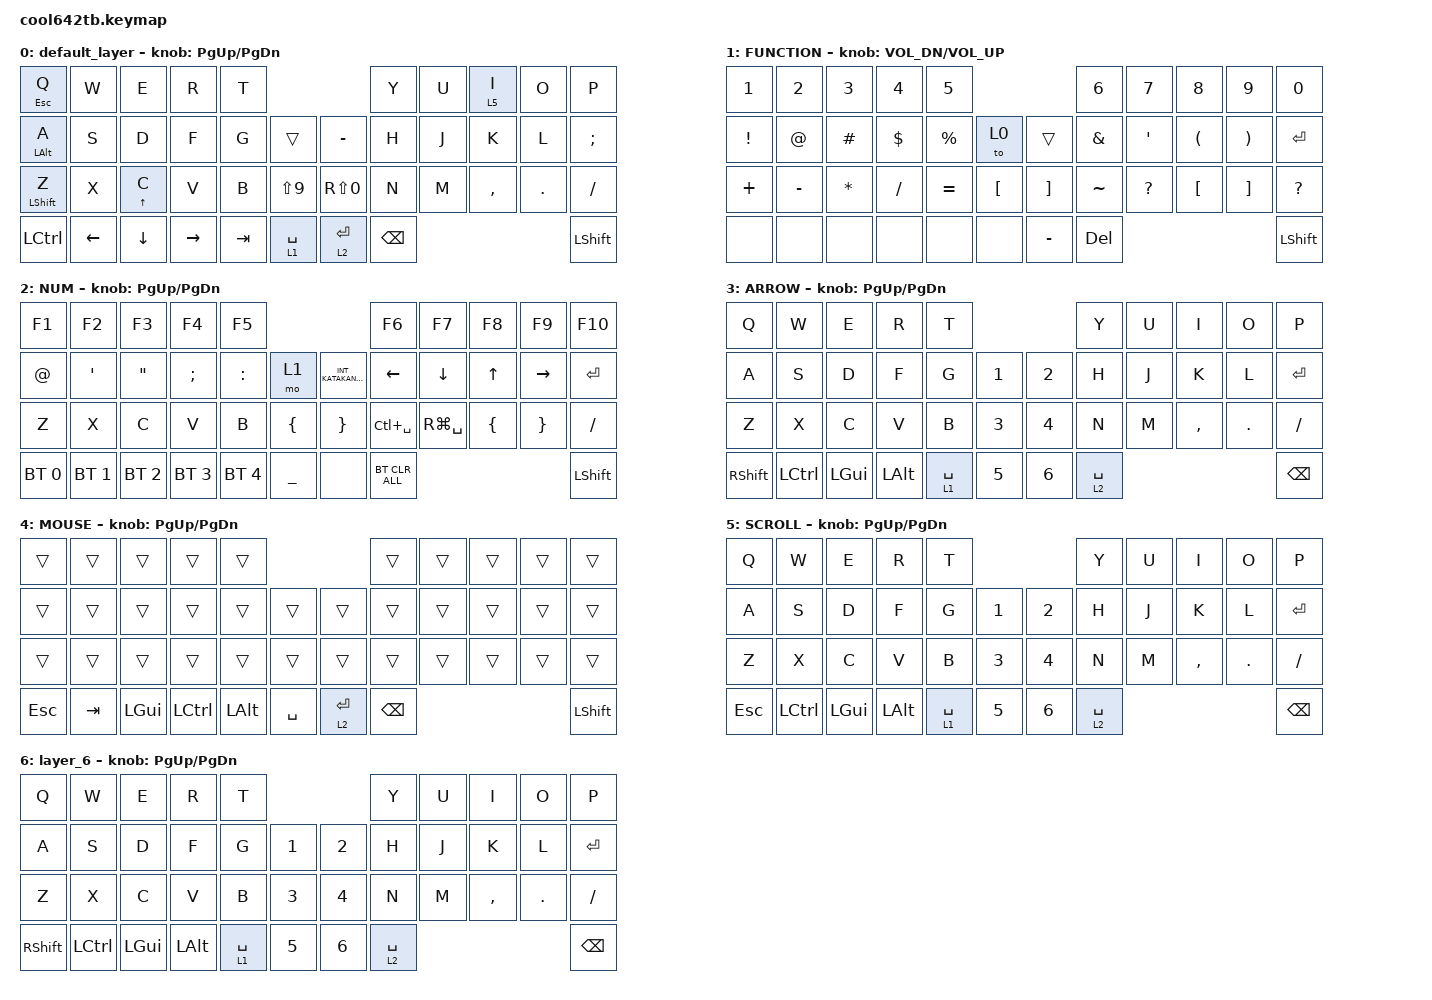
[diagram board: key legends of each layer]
#include <behaviors.dtsi>
#include <dt-bindings/zmk/bt.h>
#include <dt-bindings/zmk/keys.h>
#include <dt-bindings/zmk/pointing.h>

#define ZMK_MOUSE_DEFAULT_SCRL_VAL 100
#define MOUSE 4
#define SCROLL 5
#define NUM 6

&mt {
    flavor = "balanced";
    quick-tap-ms = <0>;
};

/ {
    combos {
        compatible = "zmk,combos";

        comb1 {
            bindings = <&mkp MB1>;
            key-positions = <18 19>;
        };

        comb2 {
            bindings = <&mkp MB2>;
            key-positions = <20 19>;
        };

        comb3 {
            bindings = <&kp LANGUAGE_1>;
            key-positions = <27 26>;
        };

        comb4 {
            bindings = <&kp LANGUAGE_2>;
            key-positions = <28 29>;
        };

        ls4 {
            bindings = <&kp LEFT_SHIFT>;
            key-positions = <34 35>;
        };
    };

    macros {
        to_layer_0: to_layer_0 {
            compatible = "zmk,behavior-macro-one-param";
            #binding-cells = <1>;
            bindings = <&to 0 &macro_param_1to1 &kp MACRO_PLACEHOLDER>;
            label = "TO_LAYER_0";
        };
    };

    behaviors {
        lt_to_layer_0: lt_to_layer_0 {
            compatible = "zmk,behavior-hold-tap";
            label = "LAYER_TAP_TO_0";
            bindings = <&mo>, <&to_layer_0>;

            #binding-cells = <2>;
            tapping-term-ms = <200>;
        };

        scroll_up_down: behavior_sensor_rotate_mouse_wheel_up_down {
            compatible = "zmk,behavior-sensor-rotate";
            #sensor-binding-cells = <0>;
            bindings = <&msc SCRL_UP>, <&msc SCRL_DOWN>;

            tap-ms = <20>;
        };
    };

    // エンコーダー：キー

    rot_kp: sensor_rotate_kp {
        compatible = "zmk,behavior-sensor-rotate-var";
        #sensor-binding-cells = <2>;
        bindings = <&kp>, <&kp>;
    };

    // エンコーダー：マウススクロール 

    rot_msc: sensor_rotate_msc {
        compatible = "zmk,behavior-sensor-rotate-var";
        #sensor-binding-cells = <2>;
        tap-ms = <20>;
        bindings = <&msc>, <&msc>;
    };

    // エンコーダー：マウススクロール(MOVE_Y)

    scroll_move_y: sensor_rotate_msc_for_move_y {
        compatible = "zmk,behavior-sensor-rotate";
        #sensor-binding-cells = <0>;
        bindings = <&msc MOVE_Y(20)>, <&msc MOVE_Y(-20)>;

        // tap-ms下限メモ Yの値で可変: Y(15) <81>, Y(20) <65>, Y(25) <49>

        tap-ms = <65>;
    };

    // エンコーダー：マウススクロール(MOVE_X)

    scroll_move_x: sensor_rotate_msc_for_move_x {
        compatible = "zmk,behavior-sensor-rotate";
        #sensor-binding-cells = <0>;
        bindings = <&msc MOVE_X(20)>, <&msc MOVE_X(-20)>;

        // tap-ms下限メモ Xの値で可変: X(15) <81>, X(20) <65>, X(25) <49>

        tap-ms = <65>;
    };

    keymap {
        compatible = "zmk,keymap";

        default_layer {
            bindings = <
&mt ESCAPE Q      &kp W     &kp E     &kp R      &kp T                              &kp Y          &kp U  &lt 5 I    &kp O       &kp P
&mt LEFT_ALT A    &kp S     &kp D     &kp F      &kp G    &trans       &kp MINUS    &kp H          &kp J  &kp K      &kp L       &kp SEMICOLON
&mt LEFT_SHIFT Z  &kp X     &mt UP C  &kp V      &kp B    &kp LS(N9)   &kp RS(N0)   &kp N          &kp M  &kp COMMA  &kp PERIOD  &kp SLASH
&kp LEFT_CONTROL  &kp LEFT  &kp DOWN  &kp RIGHT  &kp TAB  &lt 1 SPACE  &lt 2 ENTER  &kp BACKSPACE                                &kp LEFT_SHIFT
            >;

            sensor-bindings = <&inc_dec_kp PAGE_UP PAGE_DOWN>;
        };

        FUNCTION {
            bindings = <
&kp N1           &kp N2       &kp N3        &kp N4      &kp N5                                            &kp N6         &kp N7        &kp N8                &kp N9                 &kp N0
&kp EXCLAMATION  &kp AT_SIGN  &kp HASH      &kp DOLLAR  &kp PERCENT  &to 0             &trans             &kp AMPERSAND  &kp SQT       &kp LEFT_PARENTHESIS  &kp RIGHT_PARENTHESIS  &kp ENTER
&kp PLUS         &kp MINUS    &kp ASTERISK  &kp SLASH   &kp EQUAL    &kp LEFT_BRACKET  &kp RIGHT_BRACKET  &kp TILDE      &kp QUESTION  &kp LEFT_BRACKET      &kp RIGHT_BRACKET      &kp QUESTION
&none            &none        &none         &none       &none        &none             &kp MINUS          &kp DEL                                                                   &kp LEFT_SHIFT
            >;

            sensor-bindings = <&inc_dec_kp C_VOL_DN C_VOL_UP>;
        };

        NUM {
            bindings = <
&kp F1        &kp F2        &kp F3             &kp F4         &kp F5                                                  &kp F6          &kp F7          &kp F8          &kp F9           &kp F10
&kp AT_SIGN   &kp SQT       &kp DOUBLE_QUOTES  &kp SEMICOLON  &kp COLON     &mo 1           &kp INT_KATAKANAHIRAGANA  &kp LEFT        &kp DOWN_ARROW  &kp UP_ARROW    &kp RIGHT        &kp ENTER
&kp Z         &kp X         &kp C              &kp V          &kp B         &kp LEFT_BRACE  &kp RIGHT_BRACE           &kp LC(SPACE)   &kp RG(SPACE)   &kp LEFT_BRACE  &kp RIGHT_BRACE  &kp SLASH
&bt BT_SEL 0  &bt BT_SEL 1  &bt BT_SEL 2       &bt BT_SEL 3   &bt BT_SEL 4  &kp UNDERSCORE  &none                     &bt BT_CLR_ALL                                                   &kp LEFT_SHIFT
            >;

            sensor-bindings = <&inc_dec_kp PG_UP PAGE_DOWN>;
        };

        ARROW {
            bindings = <
&kp Q       &kp W      &kp E     &kp R     &kp T                        &kp Y        &kp U  &kp I      &kp O       &kp P
&kp A       &kp S      &kp D     &kp F     &kp G        &kp N1  &kp N2  &kp H        &kp J  &kp K      &kp L       &kp ENTER
&kp Z       &kp X      &kp C     &kp V     &kp B        &kp N3  &kp N4  &kp N        &kp M  &kp COMMA  &kp PERIOD  &kp SLASH
&kp RSHIFT  &kp LCTRL  &kp LGUI  &kp LALT  &lt 1 SPACE  &kp N5  &kp N6  &lt 2 SPACE                                &kp BSPC
            >;

            sensor-bindings = <&inc_dec_kp PG_UP PAGE_DOWN>;
        };

        MOUSE {
            bindings = <
&trans      &trans   &trans        &trans            &trans                                &trans         &trans  &trans  &trans  &trans
&trans      &trans   &trans        &trans            &trans        &trans     &trans       &trans         &trans  &trans  &trans  &trans
&trans      &trans   &trans        &trans            &trans        &trans     &trans       &trans         &trans  &trans  &trans  &trans
&kp ESCAPE  &kp TAB  &kp LEFT_GUI  &kp LEFT_CONTROL  &kp LEFT_ALT  &kp SPACE  &lt 2 ENTER  &kp BACKSPACE                          &kp LEFT_SHIFT
            >;

            sensor-bindings = <&inc_dec_kp PG_UP PAGE_DOWN>;
        };

        SCROLL {
            bindings = <
&kp Q    &kp W      &kp E     &kp R     &kp T                        &kp Y        &kp U  &kp I      &kp O       &kp P
&kp A    &kp S      &kp D     &kp F     &kp G        &kp N1  &kp N2  &kp H        &kp J  &kp K      &kp L       &kp ENTER
&kp Z    &kp X      &kp C     &kp V     &kp B        &kp N3  &kp N4  &kp N        &kp M  &kp COMMA  &kp PERIOD  &kp SLASH
&kp ESC  &kp LCTRL  &kp LGUI  &kp LALT  &lt 1 SPACE  &kp N5  &kp N6  &lt 2 SPACE                                &kp BSPC
            >;

            sensor-bindings = <&inc_dec_kp PG_UP PAGE_DOWN>;
        };

        layer_6 {
            bindings = <
&kp Q       &kp W      &kp E     &kp R     &kp T                        &kp Y        &kp U  &kp I      &kp O       &kp P
&kp A       &kp S      &kp D     &kp F     &kp G        &kp N1  &kp N2  &kp H        &kp J  &kp K      &kp L       &kp ENTER
&kp Z       &kp X      &kp C     &kp V     &kp B        &kp N3  &kp N4  &kp N        &kp M  &kp COMMA  &kp PERIOD  &kp SLASH
&kp RSHIFT  &kp LCTRL  &kp LGUI  &kp LALT  &lt 1 SPACE  &kp N5  &kp N6  &lt 2 SPACE                                &kp BSPC
            >;

            sensor-bindings = <&inc_dec_kp PG_UP PAGE_DOWN>;
        };
    };
};
